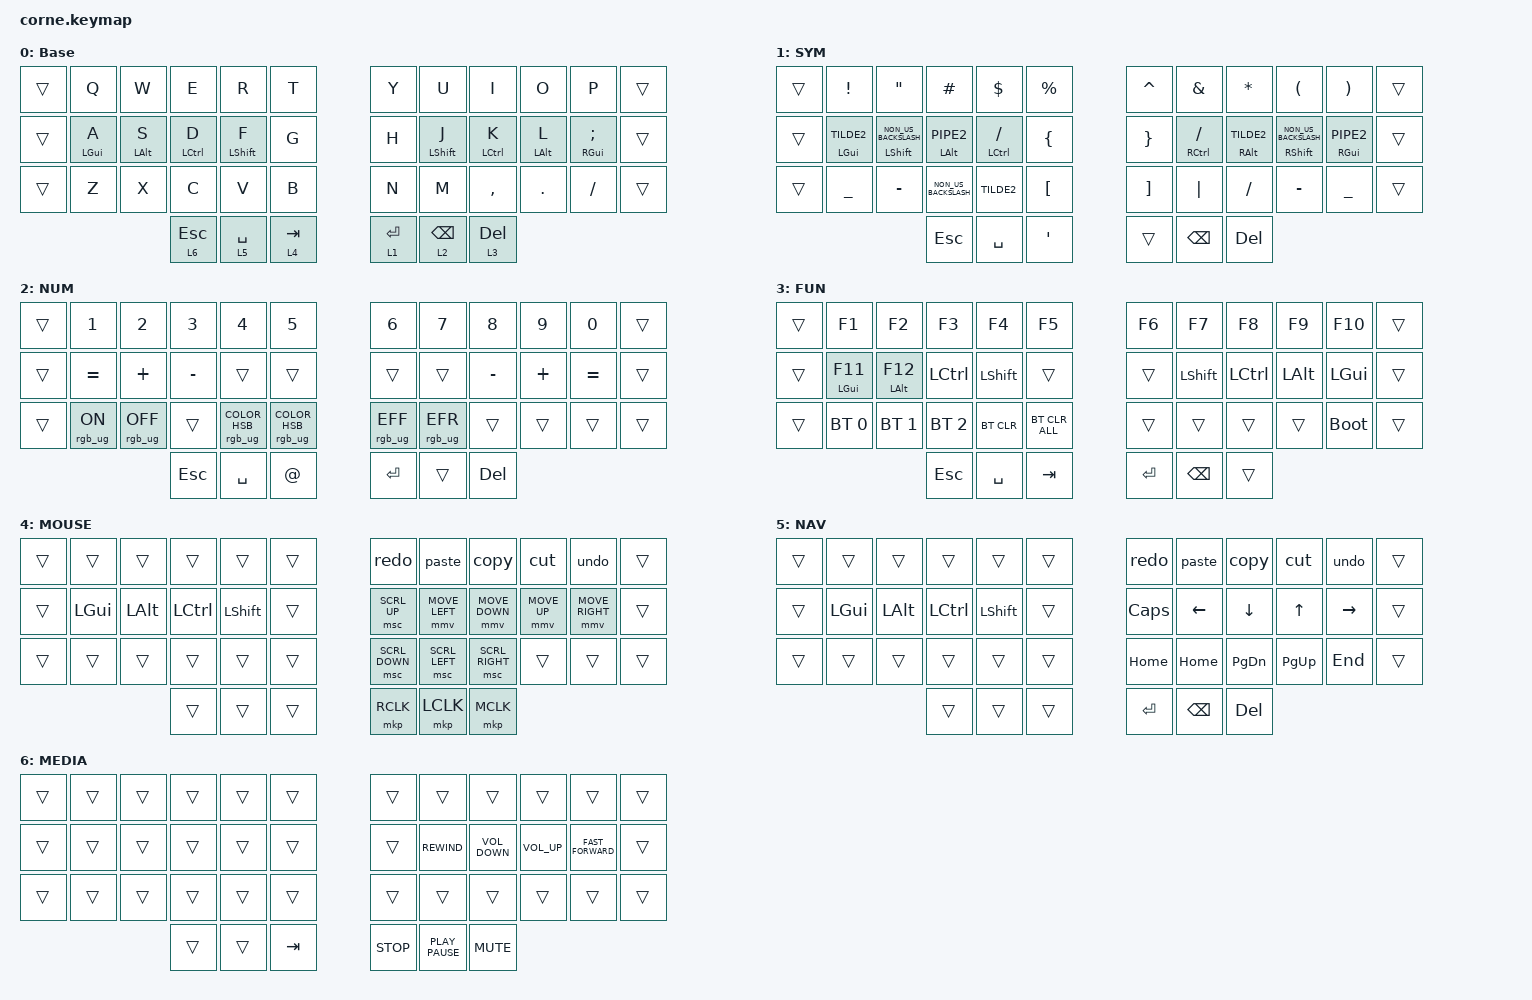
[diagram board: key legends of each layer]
#include <behaviors.dtsi>
#include <dt-bindings/zmk/bt.h>
#include <dt-bindings/zmk/keys.h>
#include <dt-bindings/zmk/pointing.h>
#include <dt-bindings/zmk/rgb.h>

#define DEF 0
#define NAV 1
#define SYM 2
#define ADJ 3
#define EXTRA 4

//testing mouse movement and scroll binds...

/ {
    behaviors {
        hm: homerow_mods {
            compatible = "zmk,behavior-hold-tap";
            label = "HOMEROW_MODS";
            #binding-cells = <2>;
            tapping-term-ms = <350>;
            quick_tap_ms = <0>;
            flavor = "tap-preferred";
            bindings = <&kp>, <&kp>;

            quick-tap-ms = <325>;
            global-quick-tap;
        };

        para: para {
            compatible = "zmk,behavior-tap-dance";
            label = "PARA";
            #binding-cells = <0>;
            bindings = <&kp LEFT_PARENTHESIS>, <&kp RIGHT_PARENTHESIS>;
        };

        caps: caps {
            compatible = "zmk,behavior-caps-word";
            label = "CAPS";
            #binding-cells = <0>;
            continue-list = <MINUS BACKSPACE>;
        };

        paraless: paraless {
            compatible = "zmk,behavior-mod-morph";
            label = "PARALESS";
            bindings = <&kp LEFT_PARENTHESIS>, <&kp LESS_THAN>;

            #binding-cells = <0>;
            mods = <(MOD_LSFT)>;
        };

        paragreat: paragreat {
            compatible = "zmk,behavior-mod-morph";
            label = "PARAGREAT";
            bindings = <&kp RIGHT_PARENTHESIS>, <&kp GREATER_THAN>;

            #binding-cells = <0>;
            mods = <(MOD_LSFT)>;
        };
    };

    combos { compatible = "zmk,combos"; };

    //

    macros {
        copy: copy {
            compatible = "zmk,behavior-macro";
            #binding-cells = <0>;
            bindings = <&kp LC(LS(C))>, <&macro_tap>;

            label = "COPY";
        };

        paste: paste {
            compatible = "zmk,behavior-macro";
            #binding-cells = <0>;
            bindings = <&kp LS(LC(V))>, <&macro_tap>;

            label = "PASTE";
        };

        undo: undo {
            compatible = "zmk,behavior-macro";
            #binding-cells = <0>;
            bindings = <&kp LC(Z)>, <&macro_tap>;

            label = "UNDO";
        };

        redo: redo {
            compatible = "zmk,behavior-macro";
            #binding-cells = <0>;
            bindings = <&kp LC(Y)>, <&macro_tap>;

            label = "REDO";
        };

        cut: cut {
            compatible = "zmk,behavior-macro";
            #binding-cells = <0>;
            bindings = <&kp LC(X)>, <&macro_tap>;

            label = "CUT";
        };
    };

    keymap {
        compatible = "zmk,keymap";

        DEF {
            display-name = "Base";

            // -----------------------------------------------------------------------------------------
            // |  Q  |  W  |  E  |  R  |  T  |   |  Y  |  U   |  I  |  O  |  P  |
            // |  A  |  S  |  D  |  F  |  G  |   |  H  |  J   |  K  |  L  |  ;  |
            // |  Z  |  X  |  C  |  V  |  B  |   |  N  |  M   |  ,  |  .  |  /  |
            // | GUI | CTRL | SHFT | LWR | SPC |   | ENT | RSE  | BKSP | ALT | ESC |

            bindings = <
&trans  &kp Q       &kp W           &kp E        &kp R             &kp T        &kp Y        &kp U             &kp I        &kp O           &kp P               &trans
&trans  &hm LGUI A  &hm LEFT_ALT S  &hm LCTRL D  &hm LEFT_SHIFT F  &kp G        &kp H        &hm LEFT_SHIFT J  &hm LCTRL K  &hm LEFT_ALT L  &hm RGUI SEMICOLON  &trans
&trans  &kp Z       &kp X           &kp C        &kp V             &kp B        &kp N        &kp M             &kp COMMA    &kp DOT         &kp FSLH            &trans
                                    &lt 6 ESC    &lt 5 SPACE       &lt 4 TAB    &lt 1 ENTER  &lt 2 BACKSPACE   &lt 3 DEL
            >;
        };

        SYM {
            display-name = "SYM";

            // -----------------------------------------------------------------------------------------
            // |  TAB |  1  |  2  |  3  |  4  |  5  |   |  6  |  7  |  8  |  9  |  0  | BKSP |
            // | BTCLR| BT1 | BT2 | BT3 | BT4 | BT5 |   | LFT | DWN |  UP | RGT |     |      |
            // | SHFT |     |     |     |     |     |   |     |     |     |     |     |      |
            // | GUI | CTRL | SHFT | LWR | SPC |   | ENT | RSE  | BKSP | ALT | ESC |

            bindings = <
&trans  &kp EXCLAMATION  &kp DOUBLE_QUOTES           &kp POUND             &kp DOLLAR       &kp PERCENT         &kp CARET          &kp AMPERSAND    &kp ASTERISK     &kp LEFT_PARENTHESIS        &kp RIGHT_PARENTHESIS  &trans
&trans  &hm LGUI TILDE2  &hm LSHFT NON_US_BACKSLASH  &hm LALT PIPE2        &hm LCTRL SLASH  &kp LEFT_BRACE      &kp RIGHT_BRACE    &hm RCTRL SLASH  &hm RALT TILDE2  &hm RSHFT NON_US_BACKSLASH  &hm RGUI PIPE2         &trans
&trans  &kp UNDERSCORE   &kp MINUS                   &kp NON_US_BACKSLASH  &kp TILDE2       &kp LEFT_BRACKET    &kp RIGHT_BRACKET  &kp PIPE         &kp SLASH        &kp MINUS                   &kp UNDERSCORE         &trans
                                                     &kp ESC               &kp SPACE        &kp SINGLE_QUOTE    &trans             &kp BACKSPACE    &kp DEL
            >;
        };

        NUM {
            display-name = "NUM";

            // -----------------------------------------------------------------------------------------
            // |  TAB |  !  |  @  |  #  |  $  |  %  |   |  ^  |  &  |  *  |  (  |  )  | BKSP |
            // | CTRL |     |     |     |     |     |   |  -  |  =  |  [  |  ]  |  \  |  `   |
            // | SHFT |     |     |     |     |     |   |  _  |  +  |  {  |  }  | "|" |  ~   |
            //                    | GUI |     | SPC |   | ENT |     | ALT |

            bindings = <
&trans  &kp NUMBER_1    &kp NUMBER_2     &kp NUMBER_3  &kp NUMBER_4                      &kp N5                              &kp NUMBER_6     &kp N7           &kp NUMBER_8  &kp NUMBER_9  &kp NUMBER_0  &trans
&trans  &kp EQUAL       &kp PLUS         &kp MINUS     &trans                            &trans                              &trans           &trans           &kp MINUS     &kp PLUS      &kp EQUAL     &trans
&trans  &rgb_ug RGB_ON  &rgb_ug RGB_OFF  &trans        &rgb_ug RGB_COLOR_HSB(227,99,51)  &rgb_ug RGB_COLOR_HSB(123,99,51)    &rgb_ug RGB_EFF  &rgb_ug RGB_EFR  &trans        &trans        &trans        &trans
                                         &kp ESC       &kp SPACE                         &kp AT_SIGN                         &kp RET          &trans           &kp DEL
            >;
        };

        FUN {
            display-name = "FUN";
            bindings = <
&trans  &kp F1        &kp F2            &kp F3        &kp F4          &kp F5            &kp F6     &kp F7          &kp F8     &kp F9        &kp F10       &trans
&trans  &hm LGUI F11  &hm LEFT_ALT F12  &kp LCTRL     &kp LEFT_SHIFT  &trans            &trans     &kp LEFT_SHIFT  &kp LCTRL  &kp LEFT_ALT  &kp LEFT_GUI  &trans
&trans  &bt BT_SEL 0  &bt BT_SEL 1      &bt BT_SEL 2  &bt BT_CLR      &bt BT_CLR_ALL    &trans     &trans          &trans     &trans        &bootloader   &trans
                                        &kp ESC       &kp SPACE       &kp TAB           &kp ENTER  &kp BACKSPACE   &trans
            >;
        };

        MOUSE {
            display-name = "MOUSE";
            bindings = <
&trans  &trans        &trans        &trans     &trans          &trans    &redo           &paste          &copy            &cut          &undo            &trans
&trans  &kp LEFT_GUI  &kp LEFT_ALT  &kp LCTRL  &kp LEFT_SHIFT  &trans    &msc SCRL_UP    &mmv MOVE_LEFT  &mmv MOVE_DOWN   &mmv MOVE_UP  &mmv MOVE_RIGHT  &trans
&trans  &trans        &trans        &trans     &trans          &trans    &msc SCRL_DOWN  &msc SCRL_LEFT  &msc SCRL_RIGHT  &trans        &trans           &trans
                                    &trans     &trans          &trans    &mkp RCLK       &mkp LCLK       &mkp MCLK
            >;
        };

        NAV {
            bindings = <
&trans  &trans        &trans        &trans     &trans          &trans    &redo         &paste          &copy           &cut          &undo            &trans
&trans  &kp LEFT_GUI  &kp LEFT_ALT  &kp LCTRL  &kp LEFT_SHIFT  &trans    &kp CAPSLOCK  &kp LEFT_ARROW  &kp DOWN_ARROW  &kp UP_ARROW  &kp RIGHT_ARROW  &trans
&trans  &trans        &trans        &trans     &trans          &trans    &kp HOME      &kp HOME        &kp PAGE_DOWN   &kp PAGE_UP   &kp END          &trans
                                    &trans     &trans          &trans    &kp ENTER     &kp BACKSPACE   &kp DEL
            >;

            label = "NAV";
        };

        MEDIA {
            bindings = <
&trans  &trans  &trans  &trans  &trans  &trans     &trans      &trans            &trans             &trans           &trans              &trans
&trans  &trans  &trans  &trans  &trans  &trans     &trans      &kp C_REWIND      &kp C_VOLUME_DOWN  &kp C_VOLUME_UP  &kp C_FAST_FORWARD  &trans
&trans  &trans  &trans  &trans  &trans  &trans     &trans      &trans            &trans             &trans           &trans              &trans
                        &trans  &trans  &kp TAB    &kp K_STOP  &kp K_PLAY_PAUSE  &kp K_MUTE
            >;

            label = "MEDIA";
        };
    };

    conditional_layers { compatible = "zmk,conditional-layers"; };
};
